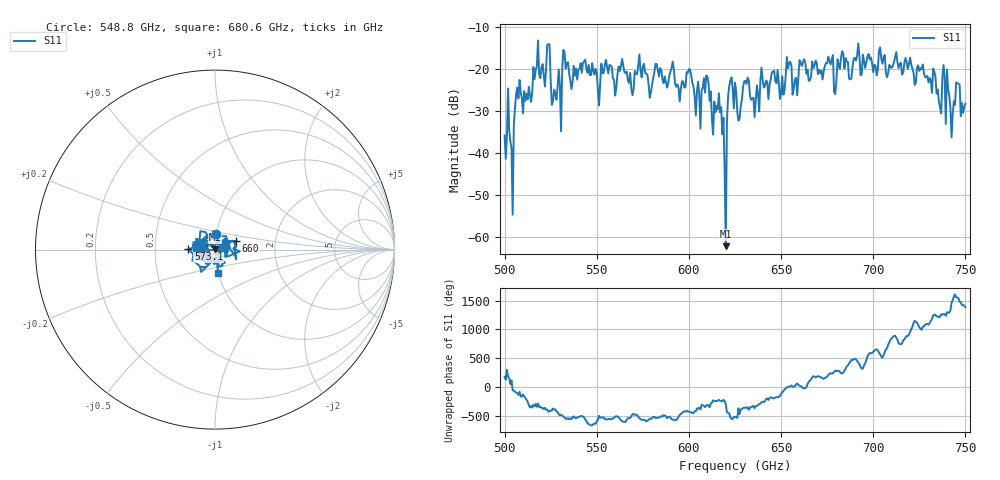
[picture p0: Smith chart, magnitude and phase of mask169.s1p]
!Created with skrf (http://scikit-rf.org).
# GHz S MA R 50.0
!freq magS11 angS11
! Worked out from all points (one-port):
!   401 points, 500 GHz to 750 GHz, reference 50 ohm
!   lowest |S11| = -62.2 dB at 620 GHz (marker M1), VSWR 1.00, Z = 50 + j0.0693 ohm
!   |S11| at or under -10 dB: start of sweep to end of sweep
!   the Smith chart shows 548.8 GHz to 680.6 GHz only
!   S11 on the Smith chart (normalised r, x): 548.8 GHz: 0.99, +0.17; 573.1 GHz: 0.74, +0.00; 660 GHz: 1.26, +0.12; 680.6 GHz: 1.00, -0.26
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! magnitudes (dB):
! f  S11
! 500 GHz  -35.9
! 502.5 GHz  -34.7
! 503.8 GHz  -39.0
! 506.9 GHz  -24.5
! 513.8 GHz  -26.3
! 516.9 GHz  -20.2
! 523.8 GHz  -14.1
! 526.9 GHz  -25.0
! 531.2 GHz  -20.0
! 548.8 GHz  -21.4
! 562.5 GHz  -20.5
! 568.8 GHz  -24.7
! 573.1 GHz  -16.6
! 593.8 GHz  -23.7
! 600 GHz  -20.1
! 605 GHz  -23.0
! 609.4 GHz  -21.6
! 617.5 GHz  -29.1
! 618.8 GHz  -31.7
! 620 GHz  -62.2
! 621.9 GHz  -24.1
! 625 GHz  -23.3
! 656.2 GHz  -26.2
! 660 GHz  -17.9
! 680.6 GHz  -17.7
! 687.5 GHz  -22.5
! 718.8 GHz  -20.0
! 750 GHz  -28.3
